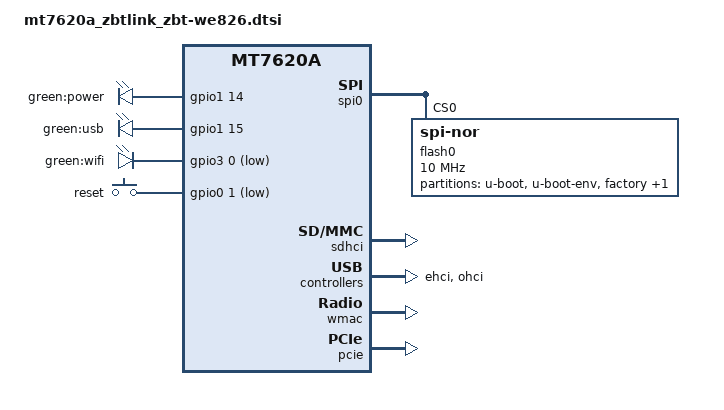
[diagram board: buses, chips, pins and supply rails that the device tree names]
#include "mt7620a.dtsi"

#include <dt-bindings/gpio/gpio.h>
#include <dt-bindings/input/input.h>

/ {
	compatible = "zbtlink,zbt-we826", "ralink,mt7620a-soc";

	aliases {
		led-boot = &led_power;
		led-failsafe = &led_power;
		led-running = &led_power;
		led-upgrade = &led_power;
	};

	chosen {
		bootargs = "console=ttyS0,115200";
	};

	leds {
		compatible = "gpio-leds";

		led_power: power {
			label = "green:power";
			gpios = <&gpio1 14 GPIO_ACTIVE_HIGH>;
		};

		usb {
			label = "green:usb";
			gpios = <&gpio1 15 GPIO_ACTIVE_HIGH>;
			trigger-sources = <&ohci_port1>, <&ehci_port1>;
			linux,default-trigger = "usbport";
		};

		air {
			label = "green:wifi";
			gpios = <&gpio3 0 GPIO_ACTIVE_LOW>;
		};
	};

	keys {
		compatible = "gpio-keys";

		reset {
			label = "reset";
			gpios = <&gpio0 1 GPIO_ACTIVE_LOW>;
			linux,code = <KEY_RESTART>;
		};
	};
};

&spi0 {
	status = "okay";

	flash0: flash@0 {
		compatible = "jedec,spi-nor";
		reg = <0>;
		spi-max-frequency = <10000000>;

		partitions {
			compatible = "fixed-partitions";
			#address-cells = <1>;
			#size-cells = <1>;

			partition@0 {
				label = "u-boot";
				reg = <0x0 0x30000>;
				read-only;
			};

			partition@30000 {
				label = "u-boot-env";
				reg = <0x30000 0x10000>;
				read-only;
			};

			factory: partition@40000 {
				label = "factory";
				reg = <0x40000 0x10000>;
				read-only;
			};

			firmware: partition@50000 {
				compatible = "denx,uimage";
				label = "firmware";
				/* reg property is set based on flash size in DTS files */
			};
		};
	};
};

&gpio1 {
	status = "okay";
};

&gpio3 {
	status = "okay";
};

&sdhci {
	status = "okay";
};

&ehci {
	status = "okay";
};

&ohci {
	status = "okay";
};

&ethernet {
	nvmem-cells = <&macaddr_factory_4>;
	nvmem-cell-names = "mac-address";

	mediatek,portmap = "llllw";
};

&wmac {
	ralink,mtd-eeprom = <&factory 0x0>;
};

&state_default {
	default {
		groups = "i2c", "uartf", "wled", "spi refclk", "pa";
		function = "gpio";
	};
};

&pcie {
	status = "okay";
};

&factory {
	compatible = "nvmem-cells";
	#address-cells = <1>;
	#size-cells = <1>;

	macaddr_factory_4: macaddr@4 {
		reg = <0x4 0x6>;
	};
};
